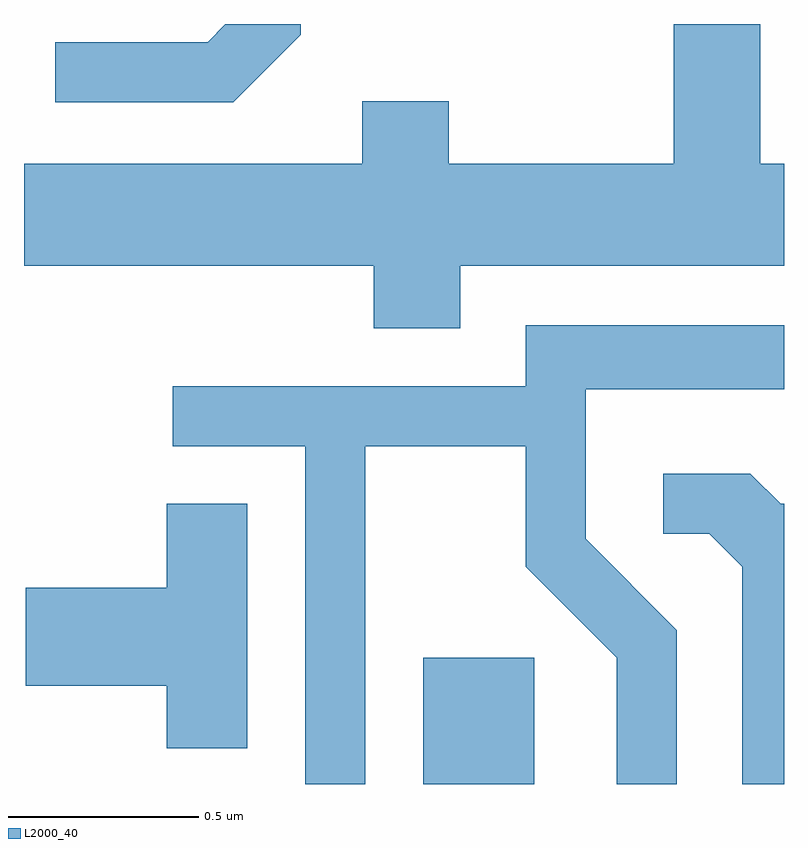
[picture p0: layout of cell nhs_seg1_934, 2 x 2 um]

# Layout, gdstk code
import gdstk
lib = gdstk.Library(unit=1e-6, precision=1e-09)
def R(c, l, rs):  # rectangles x0, y0, x1, y1
    for r in rs: c.add(gdstk.rectangle(r[:2], r[2:], *l))
def P(c, l, *ps):  # polygons
    for p in ps: c.add(gdstk.Polygon(p, *l))
L2000_40 = (2000, 40)

nhs_seg1_934 = lib.new_cell('nhs_seg1_934')
R(nhs_seg1_934, L2000_40, [(192.661,953.712,192.954,954.044)])
P(nhs_seg1_934, L2000_40, [(192.759,955.076),(193.611,955.076),(193.611,955.344),(193.549,955.344),(193.549,955.712),(193.321,955.712),(193.321,955.344),(192.729,955.344),(192.729,955.509),(192.501,955.509),(192.501,955.344),(191.611,955.344),(191.611,955.076),(192.531,955.076),(192.531,954.911),(192.759,954.911)],
  [(192.339,955.684),(192.339,955.712),(192.141,955.712),(192.094,955.664),(191.693,955.664),(191.693,955.506),(192.162,955.506)],
  [(192.509,954.601),(192.931,954.601),(192.931,954.284),(193.171,954.044),(193.171,953.712),(193.329,953.712),(193.329,954.117),(193.089,954.357),(193.089,954.751),(193.611,954.751),(193.611,954.919),(192.931,954.919),(192.931,954.759),(192.003,954.759),(192.003,954.601),(192.351,954.601),(192.351,953.712),(192.509,953.712)],
  [(193.611,954.449),(193.602,954.449),(193.522,954.529),(193.293,954.529),(193.293,954.371),(193.414,954.371),(193.501,954.284),(193.501,953.712),(193.611,953.712)],
  [(192.199,954.449),(191.986,954.449),(191.986,954.229),(191.616,954.229),(191.616,953.971),(191.986,953.971),(191.986,953.806),(192.199,953.806)])

lib.write_gds('nhs_seg1_934.gds')
